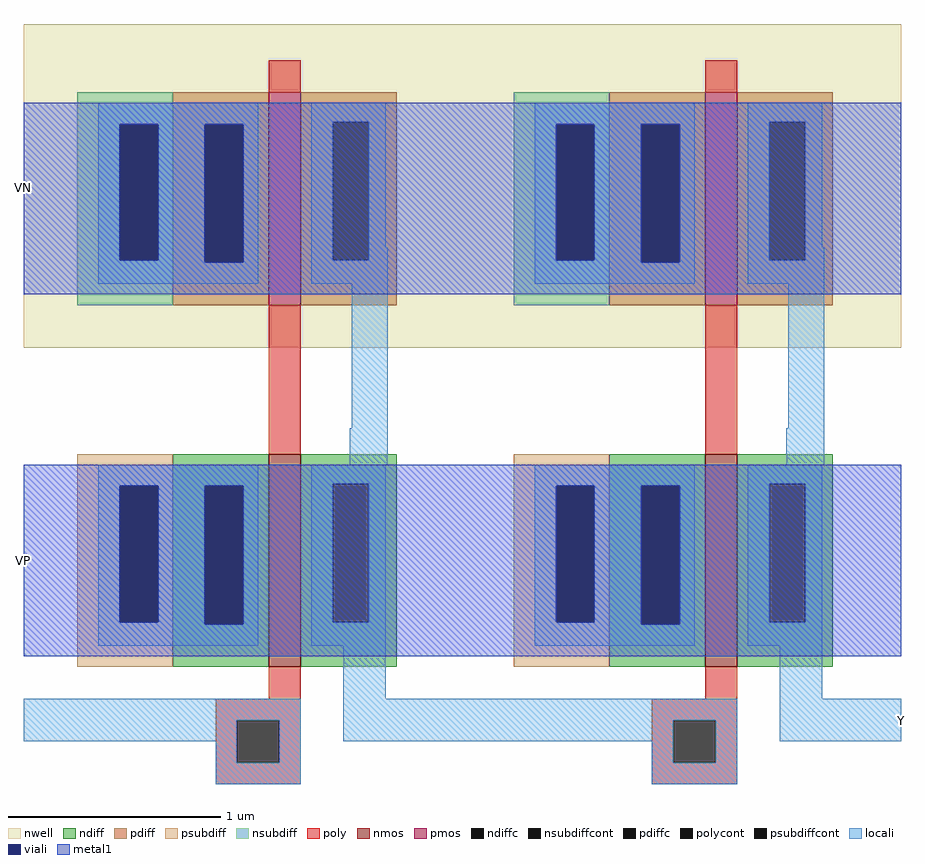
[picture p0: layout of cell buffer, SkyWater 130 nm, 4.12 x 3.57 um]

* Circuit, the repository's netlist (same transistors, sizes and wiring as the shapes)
* SPICE3 file created from buffer.ext - technology: sky130A

.subckt inverter A Y VP VN
X0 Y A VN VN sky130_fd_pr__nfet_01v8 ad=0.45 pd=2.9 as=0.45 ps=2.9 w=1 l=0.15
X1 Y A VP VP sky130_fd_pr__pfet_01v8 ad=0.45 pd=2.9 as=0.45 ps=2.9 w=1 l=0.15
.ends

.subckt buffer
Xinverter_0 inverter_0/A inverter_1/A VN VP inverter
Xinverter_1 inverter_1/A Y VN VP inverter
.ends

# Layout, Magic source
magic
tech sky130A
<< locali >>
rect 105 180 125 200
rect 515 180 517 200
<< metal1 >>
rect 105 390 125 480
rect 105 220 125 310
use inverter  inverter_0
transform 1 0 220 0 1 215
box -115 -55 92 302
use inverter  inverter_1
transform 1 0 425 0 1 215
box -115 -55 92 302
<< labels >>
rlabel locali 517 190 517 190 3 Y
rlabel metal1 105 265 105 265 7 VP
rlabel metal1 105 440 105 440 7 VN
<< end >>

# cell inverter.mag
magic
tech sky130A
<< nwell >>
rect -115 150 92 302
<< nmos >>
rect 0 0 15 100
<< pmos >>
rect 0 170 15 270
<< ndiff >>
rect -45 85 0 100
rect -45 20 -30 85
rect -12 20 0 85
rect -45 0 0 20
rect 15 86 60 100
rect 15 21 30 86
rect 47 21 60 86
rect 15 0 60 21
<< pdiff >>
rect -45 255 0 270
rect -45 190 -30 255
rect -12 190 0 255
rect -45 170 0 190
rect 15 256 60 270
rect 15 191 30 256
rect 47 191 60 256
rect 15 170 60 191
<< ndiffc >>
rect -30 20 -12 85
rect 30 21 47 86
<< pdiffc >>
rect -30 190 -12 255
rect 30 191 47 256
<< psubdiff >>
rect -90 85 -45 100
rect -90 21 -70 85
rect -52 21 -45 85
rect -90 0 -45 21
<< nsubdiff >>
rect -90 255 -45 270
rect -90 191 -70 255
rect -52 191 -45 255
rect -90 170 -45 191
<< psubdiffcont >>
rect -70 21 -52 85
<< nsubdiffcont >>
rect -70 191 -52 255
<< poly >>
rect 0 270 15 285
rect 0 100 15 170
rect 0 -15 15 0
rect -25 -25 15 -15
rect -25 -45 -15 -25
rect 5 -45 15 -25
rect -25 -55 15 -45
<< polycont >>
rect -15 -45 5 -25
<< locali >>
rect -80 255 -5 265
rect -80 191 -70 255
rect -52 191 -30 255
rect -80 190 -30 191
rect -12 190 -5 255
rect -80 180 -5 190
rect 20 256 55 265
rect 20 191 30 256
rect 47 197 55 256
rect 47 191 56 197
rect 20 180 56 191
rect 39 112 56 180
rect 38 95 56 112
rect -80 85 -5 95
rect -80 21 -70 85
rect -52 21 -30 85
rect -80 20 -30 21
rect -12 20 -5 85
rect -80 10 -5 20
rect 20 86 55 95
rect 20 21 30 86
rect 47 21 55 86
rect 20 10 55 21
rect 35 -15 55 10
rect -115 -25 15 -15
rect -115 -35 -15 -25
rect -25 -45 -15 -35
rect 5 -45 15 -25
rect 35 -35 90 -15
rect -25 -55 15 -45
<< viali >>
rect -70 191 -52 255
rect -30 190 -12 255
rect -70 21 -52 85
rect -30 20 -12 85
<< metal1 >>
rect -115 255 92 265
rect -115 191 -70 255
rect -52 191 -30 255
rect -115 190 -30 191
rect -12 190 92 255
rect -115 175 92 190
rect -115 85 92 95
rect -115 21 -70 85
rect -52 21 -30 85
rect -115 20 -30 21
rect -12 20 92 85
rect -115 5 92 20
<< labels >>
rlabel locali -115 -25 -115 -25 7 A
port 1 w
rlabel locali 90 -25 90 -25 3 Y
port 2 e
rlabel metal1 -115 225 -115 225 7 VP
port 3 w
rlabel metal1 -115 45 -115 45 7 VN
port 4 w
<< end >>
